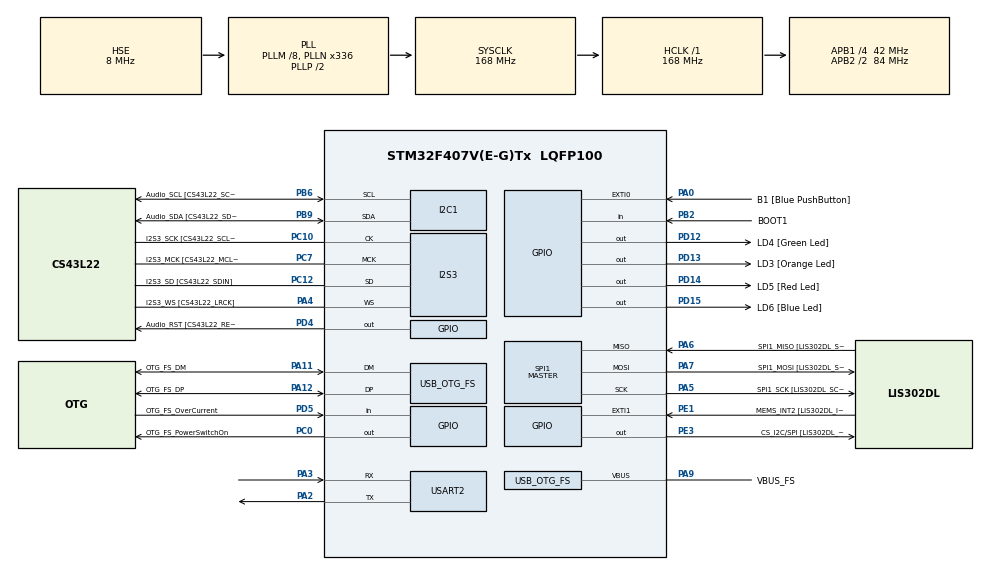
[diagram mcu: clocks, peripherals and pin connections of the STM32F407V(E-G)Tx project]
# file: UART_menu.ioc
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FREERTOS.Queues01=input_Queue,10,char*,0,Dynamic,NULL,NULL;print_Queue,10,char*,0,Dynamic,NULL,NULL
FREERTOS.Tasks01=defaultTask,24,128,StartDefaultTask,Default,NULL,Dynamic,NULL,NULL;menu_task,24,256,start_menu_task,Default,NULL,Dynamic,NULL,NULL;led_task,24,256,start_led_task,Default,NULL,Dynamic,NULL,NULL;rtc_task,24,256,start_rtc_task,Default,NULL,Dynamic,NULL,NULL;print_task,24,256,start_print_task,Default,NULL,Dynamic,NULL,NULL;cmd_handl,24,256,start_cmd_handl,Default,NULL,Dynamic,NULL,NULL
FREERTOS.configUSE_NEWLIB_REENTRANT=1
I2S3.AudioFreq-Half_Duplex_Master=I2S_AUDIOFREQ_96K
I2S3.ErrorAudioFreq=-2.34 %
I2S3.ErrorAudioFreq-Half_Duplex_Master=0.8 %
I2S3.FullDuplexMode=I2S_FULLDUPLEXMODE_DISABLE
I2S3.Instance=SPI$Index
I2S3.RealAudioFreq=93.75 KHz
I2S3.RealAudioFreq-Half_Duplex_Master=96.774 KHz
I2S3.VirtualMode=I2S_MODE_MASTER
Mcu.Family=STM32F4
Mcu.Name=STM32F407V(E-G)Tx
Mcu.Package=LQFP100
NVIC.OTG_FS_IRQn=true\:5\:0\:false\:false\:true\:true\:true\:true
NVIC.PriorityGroup=NVIC_PRIORITYGROUP_4
NVIC.TIM6_DAC_IRQn=true\:15\:0\:false\:false\:true\:false\:false\:true
NVIC.TimeBase=TIM6_DAC_IRQn
NVIC.TimeBaseIP=TIM6
NVIC.USART2_IRQn=true\:5\:0\:false\:false\:true\:true\:true\:true
PA0-WKUP.GPIO_Label=B1 [Blue PushButton]
PA0-WKUP.GPIO_ModeDefaultEXTI=GPIO_MODE_EVT_RISING
PA0-WKUP.GPIO_PuPd=GPIO_NOPULL
PA0-WKUP.Signal=GPXTI0
PA10.GPIO_Label=OTG_FS_ID
PA10.GPIO_Mode=GPIO_MODE_AF_PP
PA10.GPIO_PuPd=GPIO_NOPULL
PA10.GPIO_Speed=GPIO_SPEED_FREQ_LOW
PA10.Signal=USB_OTG_FS_ID
PA11.GPIO_Label=OTG_FS_DM
PA11.GPIO_Mode=GPIO_MODE_AF_PP
PA11.GPIO_PuPd=GPIO_NOPULL
PA11.GPIO_Speed=GPIO_SPEED_FREQ_LOW
PA11.Mode=Host_Only
PA11.Signal=USB_OTG_FS_DM
PA12.GPIO_Label=OTG_FS_DP
PA12.GPIO_Mode=GPIO_MODE_AF_PP
PA12.GPIO_PuPd=GPIO_NOPULL
PA12.GPIO_Speed=GPIO_SPEED_FREQ_LOW
PA12.Mode=Host_Only
PA12.Signal=USB_OTG_FS_DP
PA13.GPIO_Label=SWDIO
PA13.Mode=Serial_Wire
PA13.Signal=SYS_JTMS-SWDIO
PA14.GPIO_Label=SWCLK
PA14.Mode=Serial_Wire
PA14.Signal=SYS_JTCK-SWCLK
PA2.Mode=Asynchronous
PA2.Signal=USART2_TX
PA3.Mode=Asynchronous
PA3.Signal=USART2_RX
PA4.GPIO_Label=I2S3_WS [CS43L22_LRCK]
PA4.GPIO_Mode=GPIO_MODE_AF_PP
PA4.GPIO_PuPd=GPIO_NOPULL
PA4.GPIO_Speed=GPIO_SPEED_FREQ_LOW
PA4.Mode=Half_Duplex_Master
PA4.Signal=I2S3_WS
PA5.GPIO_Label=SPI1_SCK [LIS302DL_SCL/SPC]
PA5.GPIO_Mode=GPIO_MODE_AF_PP
PA5.GPIO_PuPd=GPIO_NOPULL
PA5.GPIO_Speed=GPIO_SPEED_FREQ_LOW
PA5.Mode=Full_Duplex_Master
PA5.Signal=SPI1_SCK
PA6.GPIO_Label=SPI1_MISO [LIS302DL_SDO]
PA6.GPIO_Mode=GPIO_MODE_AF_PP
PA6.GPIO_PuPd=GPIO_NOPULL
PA6.GPIO_Speed=GPIO_SPEED_FREQ_LOW
PA6.Mode=Full_Duplex_Master
PA6.Signal=SPI1_MISO
PA7.GPIO_Label=SPI1_MOSI [LIS302DL_SDA/SDI/SDO]
PA7.GPIO_Mode=GPIO_MODE_AF_PP
PA7.GPIO_PuPd=GPIO_NOPULL
PA7.GPIO_Speed=GPIO_SPEED_FREQ_LOW
PA7.Mode=Full_Duplex_Master
PA7.Signal=SPI1_MOSI
PA9.GPIO_Label=VBUS_FS
PA9.GPIO_Mode=GPIO_MODE_INPUT
PA9.GPIO_PuPd=GPIO_NOPULL
PA9.Mode=Activate_VBUS
PA9.Signal=USB_OTG_FS_VBUS
PB10.GPIO_Label=CLK_IN [MP45DT02_CLK]
PB10.GPIO_Mode=GPIO_MODE_AF_PP
PB10.GPIO_PuPd=GPIO_NOPULL
PB10.GPIO_Speed=GPIO_SPEED_FREQ_LOW
PB10.Signal=I2S2_CK
PB2.GPIO_Label=BOOT1
PB2.GPIO_Mode=GPIO_MODE_INPUT
PB2.GPIO_PuPd=GPIO_NOPULL
PB2.Signal=GPIO_Input
PB3.GPIO_Label=SWO
PB3.Signal=SYS_JTDO-SWO
PB6.GPIO_Label=Audio_SCL [CS43L22_SCL]
PB6.GPIO_Mode=GPIO_MODE_AF_OD
PB6.GPIO_Pu=GPIO_PULLUP
PB6.GPIO_PuPd=GPIO_NOPULL
PB6.GPIO_Speed=GPIO_SPEED_FREQ_LOW
PB6.Mode=I2C
PB6.Signal=I2C1_SCL
PB9.GPIO_Label=Audio_SDA [CS43L22_SDA]
PB9.GPIO_Mode=GPIO_MODE_AF_OD
PB9.GPIO_Pu=GPIO_PULLUP
PB9.GPIO_PuPd=GPIO_NOPULL
PB9.GPIO_Speed=GPIO_SPEED_FREQ_LOW
PB9.Mode=I2C
PB9.Signal=I2C1_SDA
PC0.GPIO_Label=OTG_FS_PowerSwitchOn
PC0.GPIO_PuPd=GPIO_NOPULL
PC0.GPIO_Speed=GPIO_SPEED_FREQ_LOW
PC0.PinState=GPIO_PIN_SET
PC0.Signal=GPIO_Output
PC10.GPIO_Label=I2S3_SCK [CS43L22_SCLK]
PC10.GPIO_Mode=GPIO_MODE_AF_PP
PC10.GPIO_PuPd=GPIO_NOPULL
PC10.GPIO_Speed=GPIO_SPEED_FREQ_LOW
PC10.Mode=Half_Duplex_Master
PC10.Signal=I2S3_CK
PC12.GPIO_Label=I2S3_SD [CS43L22_SDIN]
PC12.GPIO_Mode=GPIO_MODE_AF_PP
PC12.GPIO_PuPd=GPIO_NOPULL
PC12.GPIO_Speed=GPIO_SPEED_FREQ_LOW
PC12.Mode=Half_Duplex_Master
PC12.Signal=I2S3_SD
PC14-OSC32_IN.GPIO_Label=PC14-OSC32_IN
PC14-OSC32_IN.Mode=LSE-External-Oscillator
PC14-OSC32_IN.Signal=RCC_OSC32_IN
PC15-OSC32_OUT.GPIO_Label=PC15-OSC32_OUT
PC15-OSC32_OUT.Mode=LSE-External-Oscillator
PC15-OSC32_OUT.Signal=RCC_OSC32_OUT
PC3.GPIO_Label=PDM_OUT [MP45DT02_DOUT]
PC3.GPIO_Mode=GPIO_MODE_AF_PP
PC3.GPIO_PuPd=GPIO_NOPULL
PC3.GPIO_Speed=GPIO_SPEED_FREQ_LOW
PC3.Signal=I2S2_SD
PC7.GPIO_Label=I2S3_MCK [CS43L22_MCLK]
PC7.GPIO_Mode=GPIO_MODE_AF_PP
PC7.GPIO_PuPd=GPIO_NOPULL
PC7.GPIO_Speed=GPIO_SPEED_FREQ_LOW
PC7.Mode=Master_Clock_Activated
PC7.Signal=I2S3_MCK
PD12.GPIO_Label=LD4 [Green Led]
PD12.GPIO_PuPd=GPIO_NOPULL
PD12.GPIO_Speed=GPIO_SPEED_FREQ_LOW
PD12.Signal=GPIO_Output
PD13.GPIO_Label=LD3 [Orange Led]
PD13.GPIO_PuPd=GPIO_NOPULL
PD13.GPIO_Speed=GPIO_SPEED_FREQ_LOW
PD13.Signal=GPIO_Output
PD14.GPIO_Label=LD5 [Red Led]
PD14.GPIO_PuPd=GPIO_NOPULL
PD14.GPIO_Speed=GPIO_SPEED_FREQ_LOW
PD14.Signal=GPIO_Output
PD15.GPIO_Label=LD6 [Blue Led]
PD15.GPIO_PuPd=GPIO_NOPULL
PD15.GPIO_Speed=GPIO_SPEED_FREQ_LOW
PD15.Signal=GPIO_Output
PD4.GPIO_Label=Audio_RST [CS43L22_RESET]
PD4.GPIO_PuPd=GPIO_NOPULL
PD4.GPIO_Speed=GPIO_SPEED_FREQ_LOW
PD4.Signal=GPIO_Output
PD5.GPIO_Label=OTG_FS_OverCurrent
PD5.GPIO_Mode=GPIO_MODE_INPUT
PD5.GPIO_PuPd=GPIO_NOPULL
PD5.Signal=GPIO_Input
PE1.GPIO_Label=MEMS_INT2 [LIS302DL_INT2]
PE1.GPIO_ModeDefaultEXTI=GPIO_MODE_EVT_RISING
PE1.GPIO_PuPd=GPIO_NOPULL
PE1.Signal=GPXTI1
PE3.GPIO_Label=CS_I2C/SPI [LIS302DL_CS_I2C/SPI]
PE3.GPIO_PuPd=GPIO_NOPULL
PE3.GPIO_Speed=GPIO_SPEED_FREQ_LOW
PE3.Signal=GPIO_Output
PH0-OSC_IN.GPIO_Label=PH0-OSC_IN
PH0-OSC_IN.Mode=HSE-External-Oscillator
PH0-OSC_IN.Signal=RCC_OSC_IN
PH1-OSC_OUT.GPIO_Label=PH1-OSC_OUT
PH1-OSC_OUT.Mode=HSE-External-Oscillator
PH1-OSC_OUT.Signal=RCC_OSC_OUT
ProjectManager.HeapSize=0x200
ProjectManager.StackSize=0x400
ProjectManager.TargetToolchain=STM32CubeIDE
RCC.48MHZClocksFreq_Value=48000000
RCC.AHBFreq_Value=168000000
RCC.APB1CLKDivider=RCC_HCLK_DIV4
RCC.APB1Freq_Value=42000000
RCC.APB1TimFreq_Value=84000000
RCC.APB2CLKDivider=RCC_HCLK_DIV2
RCC.APB2Freq_Value=84000000
RCC.APB2TimFreq_Value=168000000
RCC.CortexFreq_Value=168000000
RCC.HCLKFreq_Value=168000000
RCC.HSE_VALUE=8000000
RCC.HSI_VALUE=16000000
RCC.PLLM=8
RCC.PLLN=336
RCC.PLLQ=7
RCC.SYSCLKFreq_VALUE=168000000
RCC.SYSCLKSource=RCC_SYSCLKSOURCE_PLLCLK
RCC.VCOOutputFreq_Value=336000000
SPI1.BaudRatePrescaler-Full_Duplex_Master=SPI_BAUDRATEPRESCALER_2
SPI1.CalculateBaudRate-Full_Duplex_Master=42.0 MBits/s
SPI1.Direction=SPI_DIRECTION_2LINES
SPI1.Mode=SPI_MODE_MASTER
SPI1.Mode-Full_Duplex_Master=SPI_MODE_MASTER
SPI1.VirtualType=VM_MASTER
USART2.VirtualMode=VM_ASYNC
USB_HOST.BSP.number=1
USB_HOST.USBH_HandleTypeDef-CDC_FS=hUsbHostFS
USB_HOST.VirtualModeFS=Cdc
USB_HOST0.BSP.STBoard=false
USB_HOST0.BSP.api=Unknown
USB_HOST0.BSP.i2caddr=0
USB_HOST0.BSP.i2creg=0
USB_HOST0.BSP.instance=PC0
USB_HOST0.BSP.ip=GPIO
USB_HOST0.BSP.mode=Output
USB_HOST0.BSP.name=Drive_VBUS_FS
USB_HOST0.BSP.solution=PC0
USB_OTG_FS.VirtualMode=Host_Only
USB_OTG_FS.phy_itface=HCD_PHY_EMBEDDED
VP_FREERTOS_VS_CMSIS_V2.Mode=CMSIS_V2
VP_SYS_VS_tim6.Mode=TIM6
VP_USB_HOST_VS_USB_HOST_CDC_FS.Mode=CDC_FS
board=STM32F407G-DISC1

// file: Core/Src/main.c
/* USER CODE BEGIN Header */
/**
  ******************************************************************************
  * @file           : main.c
  * @brief          : Main program body
  ******************************************************************************
  * @attention
  *
  * Copyright (c) 2022 STMicroelectronics.
  * All rights reserved.
  *
  * This software is licensed under terms that can be found in the LICENSE file
  * in the root directory of this software component.
  * If no LICENSE file comes with this software, it is provided AS-IS.
  *
  ******************************************************************************
  */
/* USER CODE END Header */
#include "main.h"
#include "cmsis_os.h"
#include "usb_host.h"

/* USER CODE BEGIN PD */
// LEDs redefinition
#define LED1 LD4_Pin
#define LED2 LD3_Pin
#define LED3 LD5_Pin
#define LED4 LD6_Pin
/* USER CODE END PD */

/* USER CODE BEGIN PM */

void process_command(command_t *cmd);
int extract_command(command_t *cmd);
void led_effect_callback(TimerHandle_t xTimer);

volatile uint8_t user_data;						// For write data from UART

typedef struct
{
	uint8_t payload[10];				// Data bytes of the command
	uint8_t len;						// command length
}command_t;

// Application states
typedef enum
{
	sMainMenu = 0,
	sLedEffect,
	sRtcMenu,
	sRtcTimeConfig,
	sRtcDateConfig,
	sRtcReport,
	sTestMenu,			// Test menu
	sTestPodMenu_1,
	sTestPodMenu_2,
	sTestPodMenu_3,
}satte_t;
satte_t curr_state = sMainMenu;			// Set current state as sMainMenu

// Software timer handlers
// TimerHandle_t handler_led_timer[4];

const char *msg_inv = "/// Invalid option ///\n\r\n\r";

/* USER CODE END PM */

I2C_HandleTypeDef hi2c1;

I2S_HandleTypeDef hi2s3;

SPI_HandleTypeDef hspi1;

UART_HandleTypeDef huart2;

/* Definitions for defaultTask */
osThreadId_t defaultTaskHandle;
const osThreadAttr_t defaultTask_attributes = {
  .name = "defaultTask",
  .stack_size = 128 * 4,
  .priority = (osPriority_t) osPriorityNormal,
};
/* Definitions for menu_task */
osThreadId_t menu_taskHandle;
const osThreadAttr_t menu_task_attributes = {
  .name = "menu_task",
  .stack_size = 256 * 4,
  .priority = (osPriority_t) osPriorityNormal,
};
/* Definitions for led_task */
osThreadId_t led_taskHandle;
const osThreadAttr_t led_task_attributes = {
  .name = "led_task",
  .stack_size = 256 * 4,
  .priority = (osPriority_t) osPriorityNormal,
};
/* Definitions for rtc_task */
osThreadId_t rtc_taskHandle;
const osThreadAttr_t rtc_task_attributes = {
  .name = "rtc_task",
  .stack_size = 256 * 4,
  .priority = (osPriority_t) osPriorityNormal,
};
/* Definitions for print_task */
osThreadId_t print_taskHandle;
const osThreadAttr_t print_task_attributes = {
  .name = "print_task",
  .stack_size = 256 * 4,
  .priority = (osPriority_t) osPriorityNormal,
};
/* Definitions for cmd_handl */
osThreadId_t cmd_handlHandle;
const osThreadAttr_t cmd_handl_attributes = {
  .name = "cmd_handl",
  .stack_size = 256 * 4,
  .priority = (osPriority_t) osPriorityNormal,
};
/* Definitions for input_Queue */
osMessageQueueId_t input_QueueHandle;
const osMessageQueueAttr_t input_Queue_attributes = {
  .name = "input_Queue"
};
/* Definitions for print_Queue */
osMessageQueueId_t print_QueueHandle;
const osMessageQueueAttr_t print_Queue_attributes = {
  .name = "print_Queue"
};

void SystemClock_Config(void);
static void MX_GPIO_Init(void);
static void MX_I2C1_Init(void);
static void MX_I2S3_Init(void);
static void MX_SPI1_Init(void);
static void MX_USART2_UART_Init(void);
void StartDefaultTask(void *argument);
void start_menu_task(void *argument);
void start_led_task(void *argument);
void start_rtc_task(void *argument);
void start_print_task(void *argument);
void start_cmd_handl(void *argument);

int main(void)
{

  /* MCU Configuration--------------------------------------------------------*/

  /* Reset of all peripherals, Initializes the Flash interface and the Systick. */
  HAL_Init();

  /* Configure the system clock */
  SystemClock_Config();

  /* Initialize all configured peripherals */
  MX_GPIO_Init();
  MX_I2C1_Init();
  MX_I2S3_Init();
  MX_SPI1_Init();
  MX_USART2_UART_Init();

  /* Init scheduler */
  osKernelInitialize();

  /* Create the queue(s) */
  /* creation of input_Queue */
  input_QueueHandle = osMessageQueueNew (10, sizeof(char*), &input_Queue_attributes);

  /* creation of print_Queue */
  print_QueueHandle = osMessageQueueNew (10, sizeof(char*), &print_Queue_attributes);

  /* Create the thread(s) */
  /* creation of defaultTask */
  defaultTaskHandle = osThreadNew(StartDefaultTask, NULL, &defaultTask_attributes);

  /* creation of menu_task */
  menu_taskHandle = osThreadNew(start_menu_task, NULL, &menu_task_attributes);

  /* creation of led_task */
  led_taskHandle = osThreadNew(start_led_task, NULL, &led_task_attributes);

  /* creation of rtc_task */
  rtc_taskHandle = osThreadNew(start_rtc_task, NULL, &rtc_task_attributes);

  /* creation of print_task */
  print_taskHandle = osThreadNew(start_print_task, NULL, &print_task_attributes);

  /* creation of cmd_handl */
  cmd_handlHandle = osThreadNew(start_cmd_handl, NULL, &cmd_handl_attributes);

  /* USER CODE BEGIN RTOS_THREADS */
  /* add threads, ... */

   int uart2_init_status = HAL_UART_Receive_IT(&huart2, &user_data , 1);			// Turn on (start) receive one char in interrupt mode
   if(uart2_init_status == HAL_ERROR)
   {
  	  int ggg =9;
   }
  /* USER CODE END RTOS_THREADS */

  /* Start scheduler */
  osKernelStart();

  /* We should never get here as control is now taken by the scheduler */
  /* Infinite loop */
  while (1)
  {

  }
}

void SystemClock_Config(void)
{
  RCC_OscInitTypeDef RCC_OscInitStruct = {0};
  RCC_ClkInitTypeDef RCC_ClkInitStruct = {0};

  /** Configure the main internal regulator output voltage
  */
  __HAL_RCC_PWR_CLK_ENABLE();
  __HAL_PWR_VOLTAGESCALING_CONFIG(PWR_REGULATOR_VOLTAGE_SCALE1);
  /** Initializes the RCC Oscillators according to the specified parameters
  * in the RCC_OscInitTypeDef structure.
  */
  RCC_OscInitStruct.OscillatorType = RCC_OSCILLATORTYPE_HSE;
  RCC_OscInitStruct.HSEState = RCC_HSE_ON;
  RCC_OscInitStruct.PLL.PLLState = RCC_PLL_ON;
  RCC_OscInitStruct.PLL.PLLSource = RCC_PLLSOURCE_HSE;
  RCC_OscInitStruct.PLL.PLLM = 8;
  RCC_OscInitStruct.PLL.PLLN = 336;
  RCC_OscInitStruct.PLL.PLLP = RCC_PLLP_DIV2;
  RCC_OscInitStruct.PLL.PLLQ = 7;
  if (HAL_RCC_OscConfig(&RCC_OscInitStruct) != HAL_OK)
  {
    Error_Handler();
  }
  /** Initializes the CPU, AHB and APB buses clocks
  */
  RCC_ClkInitStruct.ClockType = RCC_CLOCKTYPE_HCLK|RCC_CLOCKTYPE_SYSCLK
                              |RCC_CLOCKTYPE_PCLK1|RCC_CLOCKTYPE_PCLK2;
  RCC_ClkInitStruct.SYSCLKSource = RCC_SYSCLKSOURCE_PLLCLK;
  RCC_ClkInitStruct.AHBCLKDivider = RCC_SYSCLK_DIV1;
  RCC_ClkInitStruct.APB1CLKDivider = RCC_HCLK_DIV4;
  RCC_ClkInitStruct.APB2CLKDivider = RCC_HCLK_DIV2;

  if (HAL_RCC_ClockConfig(&RCC_ClkInitStruct, FLASH_LATENCY_5) != HAL_OK)
  {
    Error_Handler();
  }
}

static void MX_I2C1_Init(void)
{

  hi2c1.Instance = I2C1;
  hi2c1.Init.ClockSpeed = 100000;
  hi2c1.Init.DutyCycle = I2C_DUTYCYCLE_2;
  hi2c1.Init.OwnAddress1 = 0;
  hi2c1.Init.AddressingMode = I2C_ADDRESSINGMODE_7BIT;
  hi2c1.Init.DualAddressMode = I2C_DUALADDRESS_DISABLE;
  hi2c1.Init.OwnAddress2 = 0;
  hi2c1.Init.GeneralCallMode = I2C_GENERALCALL_DISABLE;
  hi2c1.Init.NoStretchMode = I2C_NOSTRETCH_DISABLE;
  if (HAL_I2C_Init(&hi2c1) != HAL_OK)
  {
    Error_Handler();
  }

}

static void MX_I2S3_Init(void)
{

  hi2s3.Instance = SPI3;
  hi2s3.Init.Mode = I2S_MODE_MASTER_TX;
  hi2s3.Init.Standard = I2S_STANDARD_PHILIPS;
  hi2s3.Init.DataFormat = I2S_DATAFORMAT_16B;
  hi2s3.Init.MCLKOutput = I2S_MCLKOUTPUT_ENABLE;
  hi2s3.Init.AudioFreq = I2S_AUDIOFREQ_96K;
  hi2s3.Init.CPOL = I2S_CPOL_LOW;
  hi2s3.Init.ClockSource = I2S_CLOCK_PLL;
  hi2s3.Init.FullDuplexMode = I2S_FULLDUPLEXMODE_DISABLE;
  if (HAL_I2S_Init(&hi2s3) != HAL_OK)
  {
    Error_Handler();
  }

}

static void MX_SPI1_Init(void)
{

  /* SPI1 parameter configuration*/
  hspi1.Instance = SPI1;
  hspi1.Init.Mode = SPI_MODE_MASTER;
  hspi1.Init.Direction = SPI_DIRECTION_2LINES;
  hspi1.Init.DataSize = SPI_DATASIZE_8BIT;
  hspi1.Init.CLKPolarity = SPI_POLARITY_LOW;
  hspi1.Init.CLKPhase = SPI_PHASE_1EDGE;
  hspi1.Init.NSS = SPI_NSS_SOFT;
  hspi1.Init.BaudRatePrescaler = SPI_BAUDRATEPRESCALER_2;
  hspi1.Init.FirstBit = SPI_FIRSTBIT_MSB;
  hspi1.Init.TIMode = SPI_TIMODE_DISABLE;
  hspi1.Init.CRCCalculation = SPI_CRCCALCULATION_DISABLE;
  hspi1.Init.CRCPolynomial = 10;
  if (HAL_SPI_Init(&hspi1) != HAL_OK)
  {
    Error_Handler();
  }

}

static void MX_USART2_UART_Init(void)
{

  huart2.Instance = USART2;
  huart2.Init.BaudRate = 115200;
  huart2.Init.WordLength = UART_WORDLENGTH_8B;
  huart2.Init.StopBits = UART_STOPBITS_1;
  huart2.Init.Parity = UART_PARITY_NONE;
  huart2.Init.Mode = UART_MODE_TX_RX;
  huart2.Init.HwFlowCtl = UART_HWCONTROL_NONE;
  huart2.Init.OverSampling = UART_OVERSAMPLING_16;
  if (HAL_UART_Init(&huart2) != HAL_OK)
  {
    Error_Handler();
  }

}

static void MX_GPIO_Init(void)
{
  GPIO_InitTypeDef GPIO_InitStruct = {0};

  /* GPIO Ports Clock Enable */
  __HAL_RCC_GPIOE_CLK_ENABLE();
  __HAL_RCC_GPIOC_CLK_ENABLE();
  __HAL_RCC_GPIOH_CLK_ENABLE();
  __HAL_RCC_GPIOA_CLK_ENABLE();
  __HAL_RCC_GPIOB_CLK_ENABLE();
  __HAL_RCC_GPIOD_CLK_ENABLE();

  /*Configure GPIO pin Output Level */
  HAL_GPIO_WritePin(CS_I2C_SPI_GPIO_Port, CS_I2C_SPI_Pin, GPIO_PIN_RESET);

  /*Configure GPIO pin Output Level */
  HAL_GPIO_WritePin(OTG_FS_PowerSwitchOn_GPIO_Port, OTG_FS_PowerSwitchOn_Pin, GPIO_PIN_SET);

  /*Configure GPIO pin Output Level */
  HAL_GPIO_WritePin(GPIOD, LD4_Pin|LD3_Pin|LD5_Pin|LD6_Pin
                          |Audio_RST_Pin, GPIO_PIN_RESET);

  /*Configure GPIO pin : CS_I2C_SPI_Pin */
  GPIO_InitStruct.Pin = CS_I2C_SPI_Pin;
  GPIO_InitStruct.Mode = GPIO_MODE_OUTPUT_PP;
  GPIO_InitStruct.Pull = GPIO_NOPULL;
  GPIO_InitStruct.Speed = GPIO_SPEED_FREQ_LOW;
  HAL_GPIO_Init(CS_I2C_SPI_GPIO_Port, &GPIO_InitStruct);

  /*Configure GPIO pin : OTG_FS_PowerSwitchOn_Pin */
  GPIO_InitStruct.Pin = OTG_FS_PowerSwitchOn_Pin;
  GPIO_InitStruct.Mode = GPIO_MODE_OUTPUT_PP;
  GPIO_InitStruct.Pull = GPIO_NOPULL;
  GPIO_InitStruct.Speed = GPIO_SPEED_FREQ_LOW;
  HAL_GPIO_Init(OTG_FS_PowerSwitchOn_GPIO_Port, &GPIO_InitStruct);

  /*Configure GPIO pin : PDM_OUT_Pin */
  GPIO_InitStruct.Pin = PDM_OUT_Pin;
  GPIO_InitStruct.Mode = GPIO_MODE_AF_PP;
  GPIO_InitStruct.Pull = GPIO_NOPULL;
  GPIO_InitStruct.Speed = GPIO_SPEED_FREQ_LOW;
  GPIO_InitStruct.Alternate = GPIO_AF5_SPI2;
  HAL_GPIO_Init(PDM_OUT_GPIO_Port, &GPIO_InitStruct);

  /*Configure GPIO pin : B1_Pin */
  GPIO_InitStruct.Pin = B1_Pin;
  GPIO_InitStruct.Mode = GPIO_MODE_EVT_RISING;
  GPIO_InitStruct.Pull = GPIO_NOPULL;
  HAL_GPIO_Init(B1_GPIO_Port, &GPIO_InitStruct);

  /*Configure GPIO pin : BOOT1_Pin */
  GPIO_InitStruct.Pin = BOOT1_Pin;
  GPIO_InitStruct.Mode = GPIO_MODE_INPUT;
  GPIO_InitStruct.Pull = GPIO_NOPULL;
  HAL_GPIO_Init(BOOT1_GPIO_Port, &GPIO_InitStruct);

  /*Configure GPIO pin : CLK_IN_Pin */
  GPIO_InitStruct.Pin = CLK_IN_Pin;
  GPIO_InitStruct.Mode = GPIO_MODE_AF_PP;
  GPIO_InitStruct.Pull = GPIO_NOPULL;
  GPIO_InitStruct.Speed = GPIO_SPEED_FREQ_LOW;
  GPIO_InitStruct.Alternate = GPIO_AF5_SPI2;
  HAL_GPIO_Init(CLK_IN_GPIO_Port, &GPIO_InitStruct);

  /*Configure GPIO pins : LD4_Pin LD3_Pin LD5_Pin LD6_Pin
                           Audio_RST_Pin */
  GPIO_InitStruct.Pin = LD4_Pin|LD3_Pin|LD5_Pin|LD6_Pin
                          |Audio_RST_Pin;
  GPIO_InitStruct.Mode = GPIO_MODE_OUTPUT_PP;
  GPIO_InitStruct.Pull = GPIO_NOPULL;
  GPIO_InitStruct.Speed = GPIO_SPEED_FREQ_LOW;
  HAL_GPIO_Init(GPIOD, &GPIO_InitStruct);

  /*Configure GPIO pin : OTG_FS_OverCurrent_Pin */
  GPIO_InitStruct.Pin = OTG_FS_OverCurrent_Pin;
  GPIO_InitStruct.Mode = GPIO_MODE_INPUT;
  GPIO_InitStruct.Pull = GPIO_NOPULL;
  HAL_GPIO_Init(OTG_FS_OverCurrent_GPIO_Port, &GPIO_InitStruct);

  /*Configure GPIO pin : MEMS_INT2_Pin */
  GPIO_InitStruct.Pin = MEMS_INT2_Pin;
  GPIO_InitStruct.Mode = GPIO_MODE_EVT_RISING;
  GPIO_InitStruct.Pull = GPIO_NOPULL;
  HAL_GPIO_Init(MEMS_INT2_GPIO_Port, &GPIO_InitStruct);

}

/* USER CODE BEGIN 4 */
/////////////////////////////////////////////////////////////////////////////
// Receive one char from UART. This function called by UART interrupt
void HAL_UART_RxCpltCallback(UART_HandleTypeDef *huart)
{
	uint8_t dummy = 0;													// Buffer for extract '\n' sign
	int peek_buff = 0;

	if(!xQueueIsQueueFullFromISR(input_QueueHandle))
	{
		xQueueSendFromISR(input_QueueHandle, (void*)&user_data, NULL);		// Enqueue data byte
	}
	else 																	// Queue is full
	{
		if(user_data == '\r')												// Check, is user_data has '\n' sign?
		{
			xQueueReceiveFromISR(input_QueueHandle, (void*)&dummy, NULL );	// Delete '\n' sign from queue
			xQueueSendFromISR(input_QueueHandle, (void*)&user_data, NULL);  // Save user_data on the place of '\n'
		}
	}
	// Send notification to command task if user_data == '\n'
	if(user_data == '\r')
	{
		xTaskNotifyFromISR(cmd_handl_taskHandle, 0, eNoAction, NULL);		// Send notify to start_com_handl task
		//xTaskNotify(test_taskHandle, 0, eNoAction);

	}

	//HAL_UART_Receive_IT(&huart2, &user_data , 1);							// Enable receive data over UART again
	HAL_UART_Receive_IT(&huart2, (uint8_t*)&user_data , 1);

	//HAL_GPIO_TogglePin(GPIOD, LED4);	// LED Blink for test  BLUE LED
}
/////////////////////////////////////////////////////////////////////////////
////////////////////////////////////////////////////////////////////////////
//			LEDs
void led_effect_stop(void)
{
	for(int  i = 0; i < 4; i++)									// Stop all timer
	{
		xTimerStop(handler_led_timer[i], portMAX_DELAY);
	}
}
/////////////////////////////////////////////////////////////////////////////
void led_effect (uint8_t effect)
{
	led_effect_stop();											// Stop current led effect
	xTimerStart(handler_led_timer[effect-1], portMAX_DELAY);	// Start needed led timer
}
/////////////////////////////////////////////////////////////////////////////
void turn_off_all_leds(void)
{
	HAL_GPIO_WritePin(GPIOD, LED1, GPIO_PIN_RESET);
	HAL_GPIO_WritePin(GPIOD, LED2, GPIO_PIN_RESET);
	HAL_GPIO_WritePin(GPIOD, LED3, GPIO_PIN_RESET);
	HAL_GPIO_WritePin(GPIOD, LED4, GPIO_PIN_RESET);
}
/////////////////////////////////////////////////////////////////////////////
void turn_on_all_leds(void)
{
	HAL_GPIO_WritePin(GPIOD, LED1, GPIO_PIN_SET);
	HAL_GPIO_WritePin(GPIOD, LED2, GPIO_PIN_SET);
	HAL_GPIO_WritePin(GPIOD, LED3, GPIO_PIN_SET);
	HAL_GPIO_WritePin(GPIOD, LED4, GPIO_PIN_SET);
}
/////////////////////////////////////////////////////////////////////////////
void turn_on_even_leds(void)
{
	HAL_GPIO_WritePin(GPIOD, LED1, GPIO_PIN_RESET);
	HAL_GPIO_WritePin(GPIOD, LED2, GPIO_PIN_SET);
	HAL_GPIO_WritePin(GPIOD, LED3, GPIO_PIN_RESET);
	HAL_GPIO_WritePin(GPIOD, LED4, GPIO_PIN_SET);
}
/////////////////////////////////////////////////////////////////////////////
void turn_on_odd_leds(void)
{
	HAL_GPIO_WritePin(GPIOD, LED1, GPIO_PIN_SET);
	HAL_GPIO_WritePin(GPIOD, LED2, GPIO_PIN_RESET);
	HAL_GPIO_WritePin(GPIOD, LED3, GPIO_PIN_SET);
	HAL_GPIO_WritePin(GPIOD, LED4, GPIO_PIN_RESET);
}
/////////////////////////////////////////////////////////////////////////////
void LED_control(int value)
{
	for(int i = 0; i < 4; i++)
	{
		HAL_GPIO_WritePin(GPIOD, (LED1 << i), ((value >> i)& 0x1));
	}
}
/////////////////////////////////////////////////////////////////////////////
void LED_effect1(void)
{
	static int flag = 1;
	(flag ^= 1) ? turn_off_all_leds() : turn_on_all_leds();			// Toggle LEDs
}
/////////////////////////////////////////////////////////////////////////////
void LED_effect2(void)
{
	static int flag = 1;
	(flag ^= 1) ? turn_on_even_leds() : turn_on_odd_leds();
}
/////////////////////////////////////////////////////////////////////////////
void LED_effect3(void)
{
	static int i = 0;
	LED_control (0x1 << (i++ % 4));  //  <<<<<<<<<<<<<<<<<<<<<<<<<<<<<<<<<<<<<<<<<, ?????????????????????????????????????????????
}
/////////////////////////////////////////////////////////////////////////////
void LED_effect4(void)
{
	static int i = 0;
	LED_control(0x08 >> (i++ % 4));  //  <<<<<<<<<<<<<<<<<<<<<<<<<<<<<<<<<<<<<<<<<, ?????????????????????????????????????????????
}
/////////////////////////////////////////////////////////////////////////////
void led_effect_callback(TimerHandle_t xTimer)
{
	int id;
	id = (uint32_t) pvTimerGetTimerID( xTimer );

	switch(id)
	{
		case 1:
			LED_effect1();
			break;
		case 2:
			LED_effect2();
			break;
		case 3:
			LED_effect3();
			break;
		case 4:
			LED_effect4();
	}
}
/////////////////////////////////////////////////////////////////////////////
// Function depends on selected menu chose(notify) needed task
void process_command(command_t *cmd)
{
	extract_command(cmd);

	switch(curr_state)
	{
		case sMainMenu:
			xTaskNotify(menu_taskHandle,(uint32_t*) cmd, eSetValueWithOverwrite);
			break;

		case sLedEffect:
	 		xTaskNotify(led_taskHandle, (uint32_t*) cmd, eSetValueWithOverwrite);
	 		break;

	 	case sRtcMenu:
	 	case sRtcTimeConfig:
	 	case sRtcDateConfig:
	 	case sRtcReport:
	 		xTaskNotify(rtc_taskHandle, (uint32_t*) cmd, eSetValueWithOverwrite);
	 		break;

	 	case sTestMenu:
	 	case sTestPodMenu_1:
	 	case sTestPodMenu_2:
	 	case sTestPodMenu_3:
			xTaskNotify(test_taskHandle, (uint32_t*) cmd, eSetValueWithOverwrite);
	 }
}
/////////////////////////////////////////////////////////////////////////////
// Extract every char byte from input_QueueHandle into cmd struct
int extract_command(command_t *cmd)
{
	uint8_t item;
	BaseType_t status;

	status = uxQueueMessagesWaiting(input_QueueHandle);			// Waiting data on the queue
	if(!status)													// If no any messages on the queue (exit from where)
	{
		return -1;
	}

	uint8_t i = 0;
	do{
		status = xQueueReceive(input_QueueHandle, &item, 0);
		if(status == pdTRUE)
		{
			cmd -> payload[i++] = item;
		}
	}while(item != '\r');    //<<<<<<<<<<<<<<<<<<<<<<<<<<<<<<<<<<<<<<<<<<<<<<<<<<<

	cmd -> payload[i - 1] = '\0';		// add '\0' sign to the end
	cmd -> len = i - 1;					// Save length in struct

	return 0;
}
/////////////////////////////////////////////////////////////////////////////
////////////////////////////////////////////////////////////////////////////
//			RTC
void show_time_date(void)
{
	static char showtime[40];
	static char showdate[40];

	RTC_DateTypeDef rtc_date;
	RTC_TimeTypeDef rtc_time;

	static char *time = showtime;
	static char *date = showdate;

	memset(&rtc_time,0, sizeof(rtc_time));
	memset(&rtc_date, 0, sizeof(rtc_date));

	// Get time
	HAL_RTC_GetTime(&hrtc, &rtc_time, RTC_FORMAT_BIN);
	// Get date
	HAL_RTC_GetTime(&hrtc, &rtc_date, RTC_FORMAT_BIN);

	char *format;
	format = (rtc_time.TimeFormat == RTC_HOURFORMAT12_AM) ? "AM" : "PM";

	// Display time and data
	sprintf((char*)showtime, "%s: \t%02d:%02d:%02d [%s]", "\n Current Time&date", rtc_time.Hours, rtc_time.Minutes, rtc_time.Seconds, format);
	xQueueSend(print_QueueHandle, &time, portMAX_DELAY);		// Send to UART

	sprintf((char*)showdate, "\t%02d-%02d-%02d\n\r", rtc_date.Month, rtc_date.Date, 2000 + rtc_date.Year);
	xQueueSend(print_QueueHandle, &date, portMAX_DELAY);
}
/////////////////////////////////////////////////////////////////////////////
void rtc_configure_time(RTC_TimeTypeDef *time)
{
	time -> TimeFormat = RTC_HOURFORMAT12_AM;
//	time -> DayLightSaving = RTC_DAYLIGHTSAVING_NONE;
//	time -> StoreOperation = RTC_STOREOPERATION_RESET;

	HAL_RTC_SetTime(&hrtc, time, RTC_FORMAT_BIN);
}
/////////////////////////////////////////////////////////////////////////////
void rtc_configure_date(RTC_DateTypeDef *date)
{
	HAL_RTC_SetDate(&hrtc, date, RTC_FORMAT_BIN);
}
/////////////////////////////////////////////////////////////////////////////
// Convert two char into two digits
uint8_t getnumber(uint8_t *p, int len)
{
	int value;
	if(len > 1)
	{
		value = (((p[0] - 48)*10) + (p[1] - 48));		// Convert two chars into digits
	}
	else
	{
		value = p[0] - 48;
	}

	return value;
}
/////////////////////////////////////////////////////////////////////////////
int validate_rtc_information(RTC_TimeTypeDef *time, RTC_DateTypeDef *date)
{
	// Validate hours, minutes and seconds
	if(((time -> Hours ) > 12) || ((time -> Hours < 0)))
	{
		return -1;
	}
	else if(((time -> Minutes > 59) || ((time -> Minutes  < 0))))
	{
		return -1;
	}
	else if(((time -> Seconds > 59) || ((time -> Seconds  < 0))))
	{
		return -1;
	}

	// Validate date, week day, year, month
	else if((date -> Date < 1 ) || (date -> Date > 31))
	{
		return -1;
	}
	else if((date -> WeekDay < 1 ) || (date -> WeekDay > 7))
	{
		return -1;
	}
	else if(date -> Year > 99 )
	{
		return -1;
	}
	else if((date -> Month < 1 ) || (date -> Month > 12))
	{
		return -1;
	}
	return 1;
}
/////////////////////////////////////////////////////////////////////////////
/* USER CODE END 4 */

void StartDefaultTask(void *argument)
{
  /* init code for USB_HOST */
  MX_USB_HOST_Init();
  /* USER CODE BEGIN 5 */
  /* Infinite loop */
  for(;;)
  {
	  HAL_GPIO_TogglePin(GPIOD, LED1);
	  osDelay(1000);
  }
  /* USER CODE END 5 */
}

void start_menu_task(void *argument)
{
  for(;;)
  {
    osDelay(1);
  }
}

void start_led_task(void *argument)
{
  for(;;)
  {
    osDelay(1);
  }
}

void start_rtc_task(void *argument)
{
  for(;;)
  {
    osDelay(1);
  }
}

void start_print_task(void *argument)
{
  for(;;)
  {
    osDelay(1);
  }
}

void start_cmd_handl(void *argument)
{
  for(;;)
  {
    osDelay(1);
  }
}

void HAL_TIM_PeriodElapsedCallback(TIM_HandleTypeDef *htim)
{
  if (htim->Instance == TIM6) {
    HAL_IncTick();
  }
}

void Error_Handler(void)
{
  __disable_irq();
  while (1)
  {
  }
}
